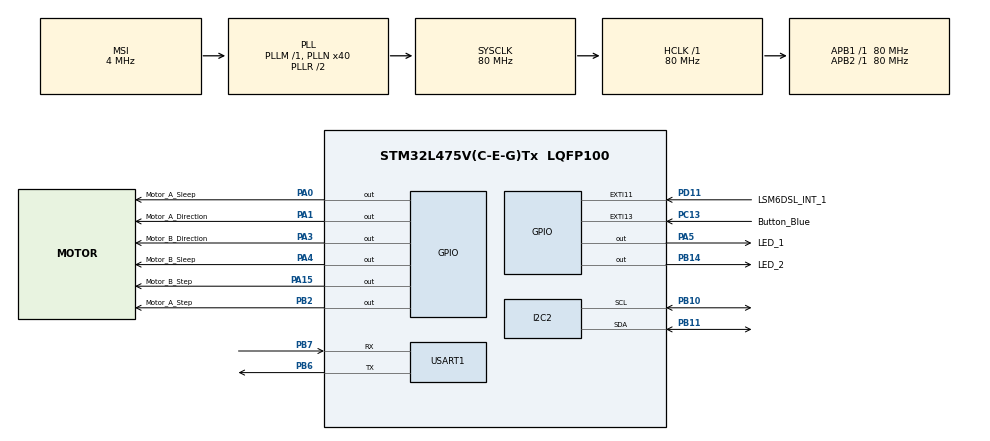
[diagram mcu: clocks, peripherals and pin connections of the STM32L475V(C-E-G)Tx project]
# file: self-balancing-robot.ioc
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Mcu.Family=STM32L4
VP_SYS_VS_tim6.Mode=TIM6
RCC.CortexFreq_Value=80000000
PB10.Mode=I2C
NVIC.TIM6_DAC_IRQn=true\:0\:0\:false\:false\:true\:false\:false\:true
PB14.GPIO_Label=LED_2
I2C2.Timing=0x10909CEC
PA0.GPIO_Label=Motor_A_Sleep
PA15\ (JTDI).Signal=GPIO_Output
PC13.GPIO_Label=Button_Blue
PB11.Signal=I2C2_SDA
RCC.SYSCLKSource=RCC_SYSCLKSOURCE_PLLCLK
ProjectManager.StackSize=0x400
Dma.USART1_TX.0.Priority=DMA_PRIORITY_LOW
Dma.USART1_TX.0.Direction=DMA_MEMORY_TO_PERIPH
PD11.GPIO_Label=LSM6DSL_INT_1
RCC.HCLKFreq_Value=80000000
RCC.APB2TimFreq_Value=80000000
PB6.Signal=USART1_TX
PB6.Mode=Asynchronous
FREERTOS.configMINIMAL_STACK_SIZE=256
RCC.AHBFreq_Value=80000000
NVIC.EXTI15_10_IRQn=true\:10\:0\:true\:false\:true\:true\:true\:true
RCC.HSE_VALUE=8000000
PB2.Signal=GPIO_Output
PB7.Signal=USART1_RX
VP_FREERTOS_VS_CMSIS_V1.Mode=CMSIS_V1
Dma.USART1_TX.0.PeriphDataAlignment=DMA_PDATAALIGN_BYTE
PD11.GPIO_ModeDefaultEXTI=GPIO_MODE_IT_RISING
PA0.Signal=GPIO_Output
Mcu.Package=LQFP100
TIM2.Prescaler=0
NVIC.TimeBase=TIM6_DAC_IRQn
NVIC.TimeBaseIP=TIM6
Dma.USART1_TX.0.Instance=DMA1_Channel4
RCC.APB1TimFreq_Value=80000000
NVIC.DMA1_Channel4_IRQn=true\:5\:0\:false\:false\:true\:true\:false\:true
FREERTOS.configMAX_TASK_NAME_LEN=32
NVIC.USART1_IRQn=true\:5\:0\:false\:false\:true\:true\:true\:true
Dma.Request0=USART1_TX
PA4.GPIO_Label=Motor_B_Sleep
RCC.PLLSAI1N=24
PA3.Signal=GPIO_Output
RCC.MSI_VALUE=4000000
FREERTOS.Tasks01=inputProcessorTask,2,256,InputProcessorTask,Default,NULL,Static,inputProcessorTaskBuffer,inputProcessorTaskControlBlock;motorControllerTask,2,256,MotorControllerTask,Default,NULL,Static,motorControllerTaskBuffer,motorControllerTaskControlBlock;uiTask,-2,256,UITask,Default,NULL,Static,uiTaskBuffer,uiTaskControlBlock;serialTxFlushTask,-1,256,SerialTxFlushTask,Default,NULL,Static,serialTxFlushTaskBuffer,serialTxFlushTaskControlBlock;serialRxTask,-1,256,SerialRxTask,Default,NULL,Static,serialRxTaskBuffer,serialRxTaskControlBlock;startStopTask,3,256,StartStopTask,Default,NULL,Static,startStopTaskBuffer,startStopTaskControlBlock;autotuningTask,0,256,AutotuningTask,Default,NULL,Static,autotuningTaskBuffer,autotuningTaskControlBlock
Dma.USART1_TX.0.MemInc=DMA_MINC_ENABLE
Dma.USART1_TX.0.PeriphInc=DMA_PINC_DISABLE
PC13.Signal=GPXTI13
USART1.VirtualMode-Asynchronous=VM_ASYNC
PB11.Mode=I2C
ProjectManager.TargetToolchain=STM32CubeIDE
RCC.USBFreq_Value=48000000
RCC.LSE_VALUE=32768
PA1.Signal=GPIO_Output
PB10.Signal=I2C2_SCL
PB14.Signal=GPIO_Output
PA5.Signal=GPIO_Output
Dma.USART1_TX.0.Mode=DMA_NORMAL
board=B-L475E-IOT01A1
RCC.VCOOutputFreq_Value=160000000
RCC.APB2Freq_Value=80000000
VP_TIM2_VS_ClockSourceINT.Mode=Internal
RCC.ADCFreq_Value=48000000
PA1.GPIO_Label=Motor_A_Direction
TIM2.Period=0
PA15\ (JTDI).GPIO_Label=Motor_B_Step
Mcu.Name=STM32L475V(C-E-G)Tx
PA4.Signal=GPIO_Output
RCC.SYSCLKFreq_VALUE=80000000
FREERTOS.configUSE_COUNTING_SEMAPHORES=1
PA5.GPIO_Label=LED_1
PC13.GPIO_ModeDefaultEXTI=GPIO_MODE_IT_RISING_FALLING
PD11.Signal=GPXTI11
PB7.Mode=Asynchronous
Dma.USART1_TX.0.MemDataAlignment=DMA_MDATAALIGN_BYTE
PB2.GPIO_Label=Motor_A_Step
ProjectManager.HeapSize=0x200
RCC.HSI_VALUE=16000000
FREERTOS.Mutexes01=sensorsMutex,Static,sensorsMutexControlBlock
NVIC.PriorityGroup=NVIC_PRIORITYGROUP_4
RCC.PLLN=40
TIM2.AutoReloadPreload=TIM_AUTORELOAD_PRELOAD_DISABLE
RCC.APB1Freq_Value=80000000
PA3.GPIO_Label=Motor_B_Direction

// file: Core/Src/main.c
/* USER CODE BEGIN Header */
/**
  ******************************************************************************
  * @file           : main.c
  * @brief          : Main program body
  ******************************************************************************
  * @attention
  *
  * <h2><center>&copy; Copyright (c) 2021 STMicroelectronics.
  * All rights reserved.</center></h2>
  *
  * This software component is licensed by ST under BSD 3-Clause license,
  * the "License"; You may not use this file except in compliance with the
  * License. You may obtain a copy of the License at:
  *                        opensource.org/licenses/BSD-3-Clause
  *
  ******************************************************************************
  */
/* USER CODE END Header */
#include "main.h"
#include "cmsis_os.h"

/* USER CODE BEGIN Includes */
#include <string.h>
#include <stdlib.h>

#include "math.h"
#include "verbose.h"
#include "serial.h"
#include "std.h"
#include "lsm6dsl.h"
#include "pid.h"
#include "complementary_filter.h"
#include "gpio_pin.h"
#include "a4988.h"
#include "utime.h"
#include "taskutils.h"
/* USER CODE END Includes */

/* USER CODE BEGIN PTD */
typedef struct SerialCommand {
	char prefix;
	const char *arg_help;
	const char *help;
	void (*fn)(const char *);
} SerialCommand;
/* USER CODE END PTD */

/* USER CODE BEGIN PD */

#define VERBOSE_FMT(fmt) fmt

/* ----- serial commands ----- */

#define CMD_PRINT_CONFIG_PREFIX '\0'
#define CMD_HELP_PREFIX 'h'
#define CMD_DEFAULT_SAMPLE_RATE_PREFIX 'r'
#define CMD_TAU_PREFIX 't'
#define CMD_KP_PREFIX 'p'
#define CMD_KI_PREFIX 'i'
#define CMD_KD_PREFIX 'd'
#define CMD_DEFAULT_SETPOINT_DEG_PREFIX 'c'
#define CMD_GYRO_X_OFFSET_PREFIX 'o'
#define CMD_DEFAULT_SIMULATION_MODE_PREFIX 'x'
#define CMD_DEFAULT_DISPLAY_STEP_RESPONSE_PREFIX 's'
#define CMD_DEFAULT_DISPLAY_MOTOR_RESPONSIVENESS_PREFIX 'm'
#define CMD_DEFAULT_ECHO_COMMANDS_PREFIX 'e'
#define CMD_STEP_MOTOR_A_PREFIX 'a'
#define CMD_STEP_MOTOR_B_PREFIX 'b'
#define CMD_SPIN_MOTORS_PREFIX 'g'
#define CMD_GYRO_AUTOTUNING_PREFIX 'u'
#define CMD_START_PREFIX '1'
#define CMD_STOP_PREFIX '0'

#if VERBOSE
#define CMD_VERBOSE_PREFIX 'v'
#endif

/* ----- fixed parameters ----- */

/*
 * Gyroscope adjustments.
 * The gyro offsets are computed as the mean
 * of the value read from the gyro while steady
 * (which ideally should be 0).
 * Actually only the X one is computed since the other are not used.
 */
#define GYRO_OFFSET_X  0.30f

/*
 * Accelerometer adjustments.
 * The acceleration offsets are 0 because we haven't
 * a more accurate accelerometer to compare
 * the obtained value; so we trust in what we read.
 */
#define ACCEL_OFFSET_X 0.0f
#define ACCEL_OFFSET_Y 0.0f
#define ACCEL_OFFSET_Z 0.0f

/*
 * Granularity of the A4988s drivers.
 * (depends on the MSI configuration, which is fixed in hardware).
 */
#define MOTOR_MICROSTEPS_PER_STEP 2

/*
 * How many steps a revolution of the motor (NEMA17) contains.
 */
#define MOTOR_STEPS_PER_REV 200

/*
 * Degrees after which the robot is considered dead
 * (therefore won't be any output).
 */
#define GIVEUP_DEG 40.0f

/*
 * First sensors samples usually have some noise, discard some of them.
 */
#define LSM6DSL_INITIAL_SAMPLES_TO_DISCARD 30

/*
 * Software debounce to prevents too near consecutive presses.
 */
#define BUTTON_DEBOUNCE_MS 150

/*
 * Software debounce to prevents too near consecutive presses.
 */
#define BUTTON_LONG_PRESS_MS 2000

/*
 * After how many steps blink the LEDs.
 */
#define UI_BLINK_AFTER_MOTOR_STEPS 4

/*
 * After how many steps blink the LEDs.
 */
#define UI_BLINK_AFTER_AUTOTUNING_SENSOR_READ 4

/*
 * Command over serial max length.
 */
#define COMMAND_MAX_LEN 16

/* ----- runtime-configurable parameters ----- */

/*
 * Sampling sensor frequency.
 */
#define DEFAULT_SAMPLE_RATE 52
#define DEFAULT_LSM6DSL_FREQ LSM6DSL_52_HZ

/*
 * Complementary filter parameter.
 * Changing this value changes the threshold of when
 * we trust the gyroscope or we trust the accelerometer.
 */
#define DEFAULT_COMPLEMENTARY_FILTER_TAU 5.00f

/*
 * PID parameters.
 * P: proportional
 * I: integral
 * D: derivative
 */
#define DEFAULT_PID_KP  6.0f
#define DEFAULT_PID_KI  60.0f
#define DEFAULT_PID_KD  0.12f

/*
 * The desired angle;
 * can be adjusted if the hardware is not exactly balanced.
 */
#define DEFAULT_SETPOINT_DEG  0.0f

#define DEFAULT_SIMULATION_MODE false
#define DEFAULT_DISPLAY_STEP_RESPONSE false
#define DEFAULT_DISPLAY_MOTOR_RESPONSIVENESS false
#define DEFAULT_ECHO_COMMANDS true
#define DEFAULT_VERBOSE false

/* USER CODE END PD */

/* USER CODE BEGIN PM */
#define COMPLEMENTARY_FILTER_ALPHA(tau, rate) \
	((float) tau / (tau + ((float) 1 / rate)))
/* USER CODE END PM */

I2C_HandleTypeDef hi2c2;

TIM_HandleTypeDef htim2;

UART_HandleTypeDef huart1;
DMA_HandleTypeDef hdma_usart1_tx;

osThreadId inputProcessorTaskHandle;
uint32_t inputProcessorTaskBuffer[ 256 ];
osStaticThreadDef_t inputProcessorTaskControlBlock;
osThreadId motorControllerTaskHandle;
uint32_t motorControllerTaskBuffer[ 256 ];
osStaticThreadDef_t motorControllerTaskControlBlock;
osThreadId uiTaskHandle;
uint32_t uiTaskBuffer[ 256 ];
osStaticThreadDef_t uiTaskControlBlock;
osThreadId serialTxFlushTaskHandle;
uint32_t serialTxFlushTaskBuffer[ 256 ];
osStaticThreadDef_t serialTxFlushTaskControlBlock;
osThreadId serialRxTaskHandle;
uint32_t serialRxTaskBuffer[ 256 ];
osStaticThreadDef_t serialRxTaskControlBlock;
osThreadId startStopTaskHandle;
uint32_t startStopTaskBuffer[ 256 ];
osStaticThreadDef_t startStopTaskControlBlock;
osThreadId autotuningTaskHandle;
uint32_t autotuningTaskBuffer[ 256 ];
osStaticThreadDef_t autotuningTaskControlBlock;
osMutexId sensorsMutexHandle;
osStaticMutexDef_t sensorsMutexControlBlock;
/* USER CODE BEGIN PV */

/* ----- conversion constants ----- */

static const float RPM_TO_FREQ = ((float) MOTOR_STEPS_PER_REV  * MOTOR_MICROSTEPS_PER_STEP) / 60.0f;
static const float FREQ_TO_RPM = 1 / RPM_TO_FREQ;

/* ----- signals ----- */

static const int START_STOP_TASK_SIGNAL_START = 					BIT(0);
static const int START_STOP_TASK_SIGNAL_STOP = 					BIT(1);
static const int START_STOP_TASK_SIGNAL_TOGGLE = 					BIT(2);

static const int INPUT_PROCESSOR_TASK_SIGNAL_INPUT_READY = 		BIT(0);
static const int INPUT_PROCESSOR_TASK_SIGNAL_RESET = 				BIT(1);

static const int UI_TASK_SIGNAL_STEP_FORWARD_MOTOR_A =				BIT(0);
static const int UI_TASK_SIGNAL_STEP_BACKWARD_MOTOR_A =			BIT(1);
static const int UI_TASK_SIGNAL_STEP_FORWARD_MOTOR_B =				BIT(2);
static const int UI_TASK_SIGNAL_STEP_BACKWARD_MOTOR_B =			BIT(3);
static const int UI_TASK_SIGNAL_AUTOTUNING =						BIT(4);

static const int MOTOR_CONTROLLER_TASK_SIGNAL_OUTPUT_READY = 		BIT(0);
static const int MOTOR_CONTROLLER_TASK_SIGNAL_RESET = 				BIT(1);

static const int AUTOTUNING_TASK_SIGNAL = 							BIT(0);

/* ----- peripherals ----- */

static GPIO_Pin led1 = { .port = LED_1_GPIO_Port, .pin = LED_1_Pin };
static GPIO_Pin led2 = { .port = LED_2_GPIO_Port, .pin = LED_2_Pin };
static GPIO_Pin button = { .port = Button_Blue_GPIO_Port, .pin = Button_Blue_Pin };

static A4988 a4988_a;
static A4988 a4988_b;
static PID pid;
static ComplementaryFilter filter;

/* ----- configurable parameters ----- */

// Some of these must be declared as volatile in order to be able to see the
// runtime updates that could eventually be done from the serial

bool verbose = DEFAULT_VERBOSE; // extern of verbose.h
static LSM6DSL_Frequency lsm6dsl_freq = DEFAULT_LSM6DSL_FREQ;
static int sample_rate = DEFAULT_SAMPLE_RATE;
static float tau = DEFAULT_COMPLEMENTARY_FILTER_TAU;
static float kp = DEFAULT_PID_KP;
static float ki = DEFAULT_PID_KI;
static float kd = DEFAULT_PID_KD;
static float setpoint_deg = DEFAULT_SETPOINT_DEG;
static bool simulation_mode = DEFAULT_SIMULATION_MODE;
static volatile bool display_step_response = DEFAULT_DISPLAY_STEP_RESPONSE;
static volatile bool display_motor_responsiveness = DEFAULT_DISPLAY_MOTOR_RESPONSIVENESS;
static volatile bool echo_commands = DEFAULT_ECHO_COMMANDS;
static volatile bool gyro_autotuning = false;
static volatile float gyro_offset_x = GYRO_OFFSET_X;
static volatile struct {
	float sum;
	int count;
} gyro_autotuning_mean;

/* ----- robot state  ----- */

static volatile bool running = false;
static volatile float target_rpm = 0;

/* USER CODE END PV */

void SystemClock_Config(void);
static void MX_GPIO_Init(void);
static void MX_DMA_Init(void);
static void MX_USART1_UART_Init(void);
static void MX_I2C2_Init(void);
static void MX_TIM2_Init(void);
void InputProcessorTask(void const * argument);
void MotorControllerTask(void const * argument);
void UITask(void const * argument);
void SerialTxFlushTask(void const * argument);
void SerialRxTask(void const * argument);
void StartStopTask(void const * argument);
void AutotuningTask(void const * argument);

/* USER CODE BEGIN PFP */
static void initializeFilter();
static void initializePID();

static void initializeMotorA();
static void startMotorA();
static void stopMotorB();
static void stepForwardMotorA(bool wait_falling_edge);
static void stepBackwardMotorA(bool wait_falling_edge);
static void stepFallingEdgeMotorA();

static void initializeMotorB();
static void startMotorB();
static void stopMotorB();
static void stepForwardMotorB(bool wait_falling_edge);
static void stepBackwardMotorB(bool wait_falling_edge);
static void stepFallingEdgeMotorB();

static void initializeMotors();
static void startMotors();
static void stopMotors();

static void initializeSensors();
static void startSensors();
static void stopSensors();

static void initializeRobot();
static void startRobot();
static void stopRobot();

static void cmdPrintConfig(const char *arg);
static void cmdHelp(const char *arg);
static void cmdSetSampleRate(const char *arg);
static void cmdSetTau(const char *arg);
static void cmdSetKp(const char *arg);
static void cmdSetKd(const char *arg);
static void cmdSetKi(const char *arg);
static void cmdSetSetpoint(const char *arg);
static void cmdSetGyroXOffset(const char *arg);
static void cmdSetOrToggleSimulationMode(const char *arg);
static void cmdSetOrToggleDisplayStepResponse(const char *arg);
static void cmdSetOrToggleDisplayMotorResponsiveness(const char *arg);
static void cmdSetOrToggleEchoCommands(const char *arg);
static void cmdStepMotorA(const char *arg);
static void cmdStepMotorB(const char *arg);
static void cmdSpinMotors(const char *arg);
static void cmdGyroAutotuning(const char *arg);
static void cmdStart(const char *arg);
static void cmdStop(const char *arg);

#if VERBOSE
static void cmdSetOrToggleVerbose(const char *arg);
#endif
/* USER CODE END PFP */

/* USER CODE BEGIN 0 */

const SerialCommand COMMANDS[] = {
	{.prefix = CMD_PRINT_CONFIG_PREFIX,
			.arg_help = "",
			.help = "print configuration",
			.fn = cmdPrintConfig},
	{.prefix = CMD_HELP_PREFIX,
			.arg_help = "",
			.help = "show help",
			.fn = cmdHelp},
	{.prefix = CMD_DEFAULT_SAMPLE_RATE_PREFIX,
			.arg_help = "<INT>",
			.help = "set 'sample_rate'",
			.fn = cmdSetSampleRate},
	{.prefix = CMD_TAU_PREFIX,
			.arg_help = "<FLOAT>",
			.help = "set 'tau'",
			.fn = cmdSetTau},
	{.prefix = CMD_KP_PREFIX,
			.arg_help = "<FLOAT>",
			.help = "set 'kp'",
			.fn = cmdSetKp},
	{.prefix = CMD_KI_PREFIX,
			.arg_help = "<FLOAT>",
			.help = "set 'ki'",
			.fn = cmdSetKi},
	{.prefix = CMD_KD_PREFIX,
			.arg_help = "<FLOAT>",
			.help = "set 'kd'",
			.fn = cmdSetKd},
	{.prefix = CMD_DEFAULT_SETPOINT_DEG_PREFIX,
			.arg_help = "<FLOAT",
			.help = "set 'setpoint_deg'",
			.fn = cmdSetSetpoint},
	{.prefix = CMD_GYRO_X_OFFSET_PREFIX,
			.arg_help = "<FLOAT>",
			.help = "set the gyroscope x offset",
			.fn = cmdSetGyroXOffset},
	{.prefix = CMD_DEFAULT_SIMULATION_MODE_PREFIX,
			.arg_help = "[0|1]",
			.help = "set or toggle 'simulation_mode'",
			.fn = cmdSetOrToggleSimulationMode},
	{.prefix = CMD_DEFAULT_DISPLAY_STEP_RESPONSE_PREFIX,
			.arg_help = "[0|1]",
			.help = "set or toggle 'display_step_response'",
			.fn = cmdSetOrToggleDisplayStepResponse},
	{.prefix = CMD_DEFAULT_DISPLAY_MOTOR_RESPONSIVENESS_PREFIX,
			.arg_help = "[0|1]",
			.help = "set or toggle 'display_motor_responsiveness'",
			.fn = cmdSetOrToggleDisplayMotorResponsiveness},
	{.prefix = CMD_DEFAULT_ECHO_COMMANDS_PREFIX,
			.arg_help = "[0|1]",
			.help = "set or toggle 'echo_commands'",
			.fn = cmdSetOrToggleEchoCommands},
#if VERBOSE
	{.prefix = CMD_VERBOSE_PREFIX,
			.arg_help = "[0|1]",
			.help = "set or toggle 'verbose'",
			.fn = cmdSetOrToggleVerbose},
#endif
	{.prefix = CMD_STEP_MOTOR_A_PREFIX,
			.arg_help = "[f|b]",
			.help = "step forward motor A",
			.fn = cmdStepMotorA},
	{.prefix = CMD_STEP_MOTOR_B_PREFIX,
			.arg_help = "[f|b]",
			.help = "step forward motor A",
			.fn = cmdStepMotorB},
	{.prefix = CMD_SPIN_MOTORS_PREFIX,
			.arg_help = "<FLOAT>",
			.help = "start the motors with the given RPM",
			.fn = cmdSpinMotors},
	{.prefix = CMD_GYRO_AUTOTUNING_PREFIX,
			.arg_help = "<INT>",
			.help = "start the gyroscope tuning for the given seconds",
			.fn = cmdGyroAutotuning},
	{.prefix = CMD_START_PREFIX,
			.arg_help = "",
			.help = "start the self-balancing robot",
			.fn = cmdStart},
	{.prefix = CMD_STOP_PREFIX,
			.arg_help = "",
			.help = "stop the self-balancing robot",
			.fn = cmdStop}
};

/* USER CODE END 0 */

int main(void)
{

  /* MCU Configuration--------------------------------------------------------*/

  /* Reset of all peripherals, Initializes the Flash interface and the Systick. */
  HAL_Init();

  /* Configure the system clock */
  SystemClock_Config();

  /* Initialize all configured peripherals */
  MX_GPIO_Init();
  MX_DMA_Init();
  MX_USART1_UART_Init();
  MX_I2C2_Init();
  MX_TIM2_Init();
  /* USER CODE BEGIN 2 */

  UTime_Init(&htim2);
  UTime_Start();

  Serial_Config serial_cfg = { .huart = &huart1 };
  Serial_Init(serial_cfg);

  println(
	  "======= SELF BALANCING ROBOT =======" SERIAL_ENDL
	  "Build date: " __DATE__ " " __TIME__ SERIAL_ENDL
	  "===================================="
  );
  println("Type h for help...");

  averboseln("Starting FreeRTOS kernel...");

  /* USER CODE END 2 */

  /* Create the mutex(es) */
  /* definition and creation of sensorsMutex */
  osMutexStaticDef(sensorsMutex, &sensorsMutexControlBlock);
  sensorsMutexHandle = osMutexCreate(osMutex(sensorsMutex));

  /* Create the thread(s) */
  /* definition and creation of inputProcessorTask */
  osThreadStaticDef(inputProcessorTask, InputProcessorTask, osPriorityHigh, 0, 256, inputProcessorTaskBuffer, &inputProcessorTaskControlBlock);
  inputProcessorTaskHandle = osThreadCreate(osThread(inputProcessorTask), NULL);

  /* definition and creation of motorControllerTask */
  osThreadStaticDef(motorControllerTask, MotorControllerTask, osPriorityHigh, 0, 256, motorControllerTaskBuffer, &motorControllerTaskControlBlock);
  motorControllerTaskHandle = osThreadCreate(osThread(motorControllerTask), NULL);

  /* definition and creation of uiTask */
  osThreadStaticDef(uiTask, UITask, osPriorityLow, 0, 256, uiTaskBuffer, &uiTaskControlBlock);
  uiTaskHandle = osThreadCreate(osThread(uiTask), NULL);

  /* definition and creation of serialTxFlushTask */
  osThreadStaticDef(serialTxFlushTask, SerialTxFlushTask, osPriorityBelowNormal, 0, 256, serialTxFlushTaskBuffer, &serialTxFlushTaskControlBlock);
  serialTxFlushTaskHandle = osThreadCreate(osThread(serialTxFlushTask), NULL);

  /* definition and creation of serialRxTask */
  osThreadStaticDef(serialRxTask, SerialRxTask, osPriorityBelowNormal, 0, 256, serialRxTaskBuffer, &serialRxTaskControlBlock);
  serialRxTaskHandle = osThreadCreate(osThread(serialRxTask), NULL);

  /* definition and creation of startStopTask */
  osThreadStaticDef(startStopTask, StartStopTask, osPriorityRealtime, 0, 256, startStopTaskBuffer, &startStopTaskControlBlock);
  startStopTaskHandle = osThreadCreate(osThread(startStopTask), NULL);

  /* definition and creation of autotuningTask */
  osThreadStaticDef(autotuningTask, AutotuningTask, osPriorityNormal, 0, 256, autotuningTaskBuffer, &autotuningTaskControlBlock);
  autotuningTaskHandle = osThreadCreate(osThread(autotuningTask), NULL);

  /* Start scheduler */
  osKernelStart();

  /* We should never get here as control is now taken by the scheduler */
  /* Infinite loop */
  while (1)
  {

  }
}

void SystemClock_Config(void)
{
  RCC_OscInitTypeDef RCC_OscInitStruct = {0};
  RCC_ClkInitTypeDef RCC_ClkInitStruct = {0};
  RCC_PeriphCLKInitTypeDef PeriphClkInit = {0};

  /** Initializes the RCC Oscillators according to the specified parameters
  * in the RCC_OscInitTypeDef structure.
  */
  RCC_OscInitStruct.OscillatorType = RCC_OSCILLATORTYPE_MSI;
  RCC_OscInitStruct.MSIState = RCC_MSI_ON;
  RCC_OscInitStruct.MSICalibrationValue = 0;
  RCC_OscInitStruct.MSIClockRange = RCC_MSIRANGE_6;
  RCC_OscInitStruct.PLL.PLLState = RCC_PLL_ON;
  RCC_OscInitStruct.PLL.PLLSource = RCC_PLLSOURCE_MSI;
  RCC_OscInitStruct.PLL.PLLM = 1;
  RCC_OscInitStruct.PLL.PLLN = 40;
  RCC_OscInitStruct.PLL.PLLP = RCC_PLLP_DIV7;
  RCC_OscInitStruct.PLL.PLLQ = RCC_PLLQ_DIV2;
  RCC_OscInitStruct.PLL.PLLR = RCC_PLLR_DIV2;
  if (HAL_RCC_OscConfig(&RCC_OscInitStruct) != HAL_OK)
  {
    Error_Handler();
  }
  /** Initializes the CPU, AHB and APB buses clocks
  */
  RCC_ClkInitStruct.ClockType = RCC_CLOCKTYPE_HCLK|RCC_CLOCKTYPE_SYSCLK
                              |RCC_CLOCKTYPE_PCLK1|RCC_CLOCKTYPE_PCLK2;
  RCC_ClkInitStruct.SYSCLKSource = RCC_SYSCLKSOURCE_PLLCLK;
  RCC_ClkInitStruct.AHBCLKDivider = RCC_SYSCLK_DIV1;
  RCC_ClkInitStruct.APB1CLKDivider = RCC_HCLK_DIV1;
  RCC_ClkInitStruct.APB2CLKDivider = RCC_HCLK_DIV1;

  if (HAL_RCC_ClockConfig(&RCC_ClkInitStruct, FLASH_LATENCY_4) != HAL_OK)
  {
    Error_Handler();
  }
  PeriphClkInit.PeriphClockSelection = RCC_PERIPHCLK_USART1|RCC_PERIPHCLK_I2C2;
  PeriphClkInit.Usart1ClockSelection = RCC_USART1CLKSOURCE_PCLK2;
  PeriphClkInit.I2c2ClockSelection = RCC_I2C2CLKSOURCE_PCLK1;
  if (HAL_RCCEx_PeriphCLKConfig(&PeriphClkInit) != HAL_OK)
  {
    Error_Handler();
  }
  /** Configure the main internal regulator output voltage
  */
  if (HAL_PWREx_ControlVoltageScaling(PWR_REGULATOR_VOLTAGE_SCALE1) != HAL_OK)
  {
    Error_Handler();
  }
}

static void MX_I2C2_Init(void)
{

  hi2c2.Instance = I2C2;
  hi2c2.Init.Timing = 0x10909CEC;
  hi2c2.Init.OwnAddress1 = 0;
  hi2c2.Init.AddressingMode = I2C_ADDRESSINGMODE_7BIT;
  hi2c2.Init.DualAddressMode = I2C_DUALADDRESS_DISABLE;
  hi2c2.Init.OwnAddress2 = 0;
  hi2c2.Init.OwnAddress2Masks = I2C_OA2_NOMASK;
  hi2c2.Init.GeneralCallMode = I2C_GENERALCALL_DISABLE;
  hi2c2.Init.NoStretchMode = I2C_NOSTRETCH_DISABLE;
  if (HAL_I2C_Init(&hi2c2) != HAL_OK)
  {
    Error_Handler();
  }
  /** Configure Analogue filter
  */
  if (HAL_I2CEx_ConfigAnalogFilter(&hi2c2, I2C_ANALOGFILTER_ENABLE) != HAL_OK)
  {
    Error_Handler();
  }
  /** Configure Digital filter
  */
  if (HAL_I2CEx_ConfigDigitalFilter(&hi2c2, 0) != HAL_OK)
  {
    Error_Handler();
  }

}

static void MX_TIM2_Init(void)
{

  TIM_ClockConfigTypeDef sClockSourceConfig = {0};
  TIM_MasterConfigTypeDef sMasterConfig = {0};

  htim2.Instance = TIM2;
  htim2.Init.Prescaler = 0;
  htim2.Init.CounterMode = TIM_COUNTERMODE_UP;
  htim2.Init.Period = 0;
  htim2.Init.ClockDivision = TIM_CLOCKDIVISION_DIV1;
  htim2.Init.AutoReloadPreload = TIM_AUTORELOAD_PRELOAD_DISABLE;
  if (HAL_TIM_Base_Init(&htim2) != HAL_OK)
  {
    Error_Handler();
  }
  sClockSourceConfig.ClockSource = TIM_CLOCKSOURCE_INTERNAL;
  if (HAL_TIM_ConfigClockSource(&htim2, &sClockSourceConfig) != HAL_OK)
  {
    Error_Handler();
  }
  sMasterConfig.MasterOutputTrigger = TIM_TRGO_RESET;
  sMasterConfig.MasterSlaveMode = TIM_MASTERSLAVEMODE_DISABLE;
  if (HAL_TIMEx_MasterConfigSynchronization(&htim2, &sMasterConfig) != HAL_OK)
  {
    Error_Handler();
  }

}

static void MX_USART1_UART_Init(void)
{

  huart1.Instance = USART1;
  huart1.Init.BaudRate = 115200;
  huart1.Init.WordLength = UART_WORDLENGTH_8B;
  huart1.Init.StopBits = UART_STOPBITS_1;
  huart1.Init.Parity = UART_PARITY_NONE;
  huart1.Init.Mode = UART_MODE_TX_RX;
  huart1.Init.HwFlowCtl = UART_HWCONTROL_NONE;
  huart1.Init.OverSampling = UART_OVERSAMPLING_16;
  huart1.Init.OneBitSampling = UART_ONE_BIT_SAMPLE_DISABLE;
  huart1.AdvancedInit.AdvFeatureInit = UART_ADVFEATURE_NO_INIT;
  if (HAL_UART_Init(&huart1) != HAL_OK)
  {
    Error_Handler();
  }

}

static void MX_DMA_Init(void)
{

  /* DMA controller clock enable */
  __HAL_RCC_DMA1_CLK_ENABLE();

  /* DMA interrupt init */
  /* DMA1_Channel4_IRQn interrupt configuration */
  HAL_NVIC_SetPriority(DMA1_Channel4_IRQn, 5, 0);
  HAL_NVIC_EnableIRQ(DMA1_Channel4_IRQn);

}

static void MX_GPIO_Init(void)
{
  GPIO_InitTypeDef GPIO_InitStruct = {0};

  /* GPIO Ports Clock Enable */
  __HAL_RCC_GPIOC_CLK_ENABLE();
  __HAL_RCC_GPIOA_CLK_ENABLE();
  __HAL_RCC_GPIOB_CLK_ENABLE();
  __HAL_RCC_GPIOD_CLK_ENABLE();

  /*Configure GPIO pin Output Level */
  HAL_GPIO_WritePin(GPIOA, Motor_A_Sleep_Pin|Motor_A_Direction_Pin|Motor_B_Direction_Pin|Motor_B_Sleep_Pin
                          |LED_1_Pin|Motor_B_Step_Pin, GPIO_PIN_RESET);

  /*Configure GPIO pin Output Level */
  HAL_GPIO_WritePin(GPIOB, Motor_A_Step_Pin|LED_2_Pin, GPIO_PIN_RESET);

  /*Configure GPIO pin : Button_Blue_Pin */
  GPIO_InitStruct.Pin = Button_Blue_Pin;
  GPIO_InitStruct.Mode = GPIO_MODE_IT_RISING_FALLING;
  GPIO_InitStruct.Pull = GPIO_NOPULL;
  HAL_GPIO_Init(Button_Blue_GPIO_Port, &GPIO_InitStruct);

  /*Configure GPIO pins : Motor_A_Sleep_Pin Motor_A_Direction_Pin Motor_B_Direction_Pin Motor_B_Sleep_Pin
                           LED_1_Pin Motor_B_Step_Pin */
  GPIO_InitStruct.Pin = Motor_A_Sleep_Pin|Motor_A_Direction_Pin|Motor_B_Direction_Pin|Motor_B_Sleep_Pin
                          |LED_1_Pin|Motor_B_Step_Pin;
  GPIO_InitStruct.Mode = GPIO_MODE_OUTPUT_PP;
  GPIO_InitStruct.Pull = GPIO_NOPULL;
  GPIO_InitStruct.Speed = GPIO_SPEED_FREQ_LOW;
  HAL_GPIO_Init(GPIOA, &GPIO_InitStruct);

  /*Configure GPIO pins : Motor_A_Step_Pin LED_2_Pin */
  GPIO_InitStruct.Pin = Motor_A_Step_Pin|LED_2_Pin;
  GPIO_InitStruct.Mode = GPIO_MODE_OUTPUT_PP;
  GPIO_InitStruct.Pull = GPIO_NOPULL;
  GPIO_InitStruct.Speed = GPIO_SPEED_FREQ_LOW;
  HAL_GPIO_Init(GPIOB, &GPIO_InitStruct);

  /*Configure GPIO pin : LSM6DSL_INT_1_Pin */
  GPIO_InitStruct.Pin = LSM6DSL_INT_1_Pin;
  GPIO_InitStruct.Mode = GPIO_MODE_IT_RISING;
  GPIO_InitStruct.Pull = GPIO_NOPULL;
  HAL_GPIO_Init(LSM6DSL_INT_1_GPIO_Port, &GPIO_InitStruct);

  /* EXTI interrupt init*/
  HAL_NVIC_SetPriority(EXTI15_10_IRQn, 10, 0);
  HAL_NVIC_EnableIRQ(EXTI15_10_IRQn);

}

/* USER CODE BEGIN 4 */

void HAL_GPIO_EXTI_Callback(uint16_t pin)
{
	static uint32_t button_last_t = 0;
	uint32_t t = GetMilliseconds();

	if (pin == LSM6DSL_INT_1_Pin) {
		// SENSORS event (wake up InputProcessorTask)
		osSignalSet(inputProcessorTaskHandle, INPUT_PROCESSOR_TASK_SIGNAL_INPUT_READY);
	} else if (pin == Button_Blue_Pin) {
		// BUTTON event
		bool rising = GPIO_Pin_Read(button);
		if (rising) {
			if (t - button_last_t > BUTTON_LONG_PRESS_MS) {
				// Long press: auto tuning
				osSignalSet(autotuningTaskHandle, AUTOTUNING_TASK_SIGNAL);
			} else {
				// Short press: start/stop
				osSignalSet(startStopTaskHandle, START_STOP_TASK_SIGNAL_TOGGLE);
			}
		}

		button_last_t = t;
	}
}

static void initializeFilter()
{
	ComplementaryFilter_Config cfg = {
		.alpha = COMPLEMENTARY_FILTER_ALPHA(tau, sample_rate),
		.sample_rate = (float) sample_rate
	};

	ComplementaryFilter_Init(&filter, cfg);
}

static void initializePID()
{
	PID_Config cfg = {
		.Kp = kp,
		.Ki = ki,
		.Kd = kd,
		.setpoint = setpoint_deg,
		.sample_rate = (float) sample_rate,
		.limit_output = true,
		.output_limits = {
			/* Better not to exceed 1000Hz. */
			.min = -995 * FREQ_TO_RPM,
			.max = +995 * FREQ_TO_RPM
		},
		.direction = PID_DIRECTION_DIRECT
	};

	PID_Init(&pid, cfg);
}

static void initializeMotorA()
{
	A4988_Config cfg_a = {
		.step = {
			.port = Motor_A_Step_GPIO_Port,
			.pin = Motor_A_Step_Pin
		},
		.direction = {
			.port = Motor_A_Direction_GPIO_Port,
			.pin = Motor_A_Direction_Pin
		},
		.sleep = {
			.port = Motor_A_Sleep_GPIO_Port,
			.pin = Motor_A_Sleep_Pin
		},
		.inverted = true,
	};

	A4988_Init(&a4988_a, cfg_a);
}

static void startMotorA()
{
	if (!simulation_mode)
		A4988_Enable(&a4988_a);
	else
		a4988_a.enabled = true;
}

static void stopMotorA()
{
	if (!simulation_mode)
		A4988_Disable(&a4988_a);
	else
		a4988_a.enabled = false;
}

static void stepForwardMotorA(bool wait_falling_edge)
{
	if (a4988_a.enabled) {
		if (!simulation_mode) {
			A4988_StepForward(&a4988_a, wait_falling_edge);
		}
		osSignalSet(uiTaskHandle, UI_TASK_SIGNAL_STEP_FORWARD_MOTOR_A);
	}
}

static void stepBackwardMotorA(bool wait_falling_edge)
{
	if (a4988_a.enabled) {
		if (!simulation_mode)
			A4988_StepBackward(&a4988_a, wait_falling_edge);
		osSignalSet(uiTaskHandle, UI_TASK_SIGNAL_STEP_BACKWARD_MOTOR_A);
	}
}

static void stepFallingEdgeMotorA()
{
	if (a4988_a.enabled) {
		if (!simulation_mode)
			A4988_StepFallingEdge(&a4988_a);
	}
}

static void initializeMotorB()
{
	A4988_Config cfg_b = {
		.step = {
			.port = Motor_B_Step_GPIO_Port,
			.pin = Motor_B_Step_Pin
		},
		.direction = {
			.port = Motor_B_Direction_GPIO_Port,
			.pin = Motor_B_Direction_Pin
		},
		.sleep = {
			.port = Motor_B_Sleep_GPIO_Port,
			.pin = Motor_B_Sleep_Pin
		},
		.inverted = false,
	};

	A4988_Init(&a4988_b, cfg_b);
}

static void startMotorB()
{
	if (!simulation_mode)
		A4988_Enable(&a4988_b);
	else
		a4988_b.enabled = true;
}

static void stopMotorB()
{
	if (!simulation_mode)
		A4988_Disable(&a4988_b);
	else
		a4988_a.enabled = false;
}

static void stepForwardMotorB(bool wait_falling_edge)
{
	if (a4988_b.enabled) {
		if (!simulation_mode)
			A4988_StepForward(&a4988_b, wait_falling_edge);
		osSignalSet(uiTaskHandle, UI_TASK_SIGNAL_STEP_FORWARD_MOTOR_B);
	}
}

static void stepBackwardMotorB(bool wait_falling_edge)
{
	if (a4988_b.enabled) {
		if (!simulation_mode)
			A4988_StepBackward(&a4988_b, wait_falling_edge);
		osSignalSet(uiTaskHandle, UI_TASK_SIGNAL_STEP_BACKWARD_MOTOR_B);
	}
}

static void stepFallingEdgeMotorB()
{
	if (!simulation_mode)
		A4988_StepFallingEdge(&a4988_b);
}

static void initializeMotors()
{
	initializeMotorA();
	initializeMotorB();
}

static void startMotors()
{
	startMotorA();
	startMotorB();
	osDelay(A4988_MINIMUM_STEP_AFTER_WAKE_UP_MILLISECONDS);
}

static void stopMotors()
{
	stopMotorA();
	stopMotorB();
}

static void initializeSensors()
{
	osMutexWait(sensorsMutexHandle, osWaitForever);
	LSM6DSL_Init(&hi2c2);
	osMutexRelease(sensorsMutexHandle);
}

static void startSensors()
{
	osMutexWait(sensorsMutexHandle, osWaitForever);
	bool ok =
		LSM6DSL_EnableAccelerometer(lsm6dsl_freq, LSM6DSL_FS_XL_2_G) == HAL_OK &&
		LSM6DSL_EnableGyroscope(lsm6dsl_freq, LSM6DSL_FS_G_250_DPS) == HAL_OK &&
		LSM6DSL_SetGyroscopeInterrupt(LSM6DSL_INT_1) == HAL_OK;
	osMutexRelease(sensorsMutexHandle);

	if (!ok) {
		println("ERROR: sensors communication failed");
		Error_Handler();
	}
}

static void stopSensors()
{
	osMutexWait(sensorsMutexHandle, osWaitForever);
	bool ok =
		LSM6DSL_DisableAccelerometer() == HAL_OK &&
		LSM6DSL_DisableGyroscope() == HAL_OK &&
		LSM6DSL_UnsetGyroscopeInterrupt(LSM6DSL_INT_1) == HAL_OK;
	osMutexRelease(sensorsMutexHandle);

	if (!ok) {
		println("ERROR: sensors communication failed");
		Error_Handler();
	}
}

static void initializeRobot()
{
	averboseln("Initializing robot...");
	initializeSensors();
	initializeMotors();
	initializeFilter();
	initializePID();
}

static void startRobot()
{
	aprintln("=== START ===");
	startSensors();
	startMotors();
}

static void stopRobot()
{
	aprintln("=== STOP ===");
	stopSensors();
	stopMotors();
}

static void gyroAutotuning(int seconds) {
	int ms = seconds * 1000;
	gyro_autotuning = true;
	gyro_autotuning_mean.sum = 0;
	gyro_autotuning_mean.count = 0;
	aprintln("----------------------------");
	aprintln("--- GYROSCOPE AUTOTUNING ---");
	aprintln("----------------------------");
	initializeSensors();
	startSensors();

	uint32_t start = GetMilliseconds();
	uint32_t end = start + ms;
	while (true) {
		osDelay(2000);
		uint32_t now = GetMilliseconds();
		if (now > end)
			break;
		float progress = 100.0f * (now - start) / ms;
		aprintln("[%.1f%%] %f", progress, gyro_autotuning_mean.sum / gyro_autotuning_mean.count);
	}

	stopSensors();
	osSignalSet(inputProcessorTaskHandle, INPUT_PROCESSOR_TASK_SIGNAL_RESET);
	gyro_autotuning = false;
	gyro_offset_x = gyro_autotuning_mean.sum / gyro_autotuning_mean.count;
	aprintln("----------------------------");
	aprintln("New gyro_offset_x offset is: %f", gyro_offset_x);
}

static bool _setFloatFromArg(float *var, const char *arg)
{
	char *endptr;
	float result = strtof(arg, &endptr);
	if (result == 0 && *endptr != '\0') {
		aprintln("Conversion of '%s' to float failed", arg);
		return false;
	}

	*var = result;
	return true;
}

static bool _setIntFromArg(int *var, const char *arg)
{
	char *endptr;
	int result = strtol(arg, &endptr, 10);
	if (result == 0 && *endptr != '\0') {
		aprintln("Conversion of '%s' to int failed", arg);
		return false;
	}

	*var = result;
	return true;
}

static bool _setBoolFromArg(bool *var, const char *arg)
{
	char *endptr;
	int result = strtol(arg, &endptr, 10);

	if (result == 0 && *endptr != '\0') {
		aprintln("Conversion of '%s' to bool failed", arg);
		return false;
	}
	if (result != 0 && result != 1) {
		aprintln("Conversion of '%s' to bool failed (only 0 or 1 is allowed)", arg);
		return false;
	}

	*var = result;
	return true;
}

static bool _setOrToggleBoolFromArg(bool *var, const char *arg)
{
	if (*arg == '\0') {
		*var = !(*var);
		return true;
	}

	return _setBoolFromArg(var, arg);
}

static void cmdPrintConfig(const char *arg)
{
	static const int PARAMETER_COLUMN_SIZE = 40;
	static const int VALUE_COLUMN_SIZE = 16;
	static const int DEFAULT_VALUE_COLUMN_SIZE = 16;

#define HR "|-----------------------------------------------------------------------------------|"
#define INT_PARAM_FMT 	"| %c%*s | %c%*d | %*d |"
#define FLOAT_PARAM_FMT "| %c%*s | %c%*f | %*f |"
#define BOOL_PARAM 		"| %c%*s | %c%*s | %*s |"
#define EXPAND_PARAM(cmd_prefix, name, value, def_value) \
	cmd_prefix, PARAMETER_COLUMN_SIZE, name, \
	((value) == (def_value)) ? ' ' : '*', VALUE_COLUMN_SIZE, value, \
	DEFAULT_VALUE_COLUMN_SIZE, def_value

	aprintln(
			HR SERIAL_ENDL
			"| %*s |  %*s | %*s |" SERIAL_ENDL
			HR,
			PARAMETER_COLUMN_SIZE, "PARAMETER",
			VALUE_COLUMN_SIZE, "VALUE",
			DEFAULT_VALUE_COLUMN_SIZE, "DEFAULT_VALUE"
	);

	aprintln(INT_PARAM_FMT,
			EXPAND_PARAM(CMD_DEFAULT_SAMPLE_RATE_PREFIX, "sample_rate",
					sample_rate, DEFAULT_SAMPLE_RATE));
	aprintln(FLOAT_PARAM_FMT,
			EXPAND_PARAM(CMD_TAU_PREFIX, "tau",
					tau, DEFAULT_COMPLEMENTARY_FILTER_TAU));
	aprintln(FLOAT_PARAM_FMT,
			EXPAND_PARAM(CMD_KP_PREFIX, "kp",
					kp, DEFAULT_PID_KP));
	aprintln(FLOAT_PARAM_FMT,
			EXPAND_PARAM(CMD_KI_PREFIX, "ki",
					ki, DEFAULT_PID_KI));
	aprintln(FLOAT_PARAM_FMT,
			EXPAND_PARAM(CMD_KD_PREFIX, "kd",
					kd, DEFAULT_PID_KD));
	aprintln(FLOAT_PARAM_FMT,
			EXPAND_PARAM(CMD_DEFAULT_SETPOINT_DEG_PREFIX, "setpoint_deg",
					setpoint_deg, DEFAULT_SETPOINT_DEG));
	aprintln(FLOAT_PARAM_FMT,
			EXPAND_PARAM(CMD_GYRO_X_OFFSET_PREFIX, "gyro_offset_x",
					gyro_offset_x, GYRO_OFFSET_X));
	aprintln(FLOAT_PARAM_FMT,
			EXPAND_PARAM(' ', "giveup_deg",
					GIVEUP_DEG, GIVEUP_DEG));
	aprintln(INT_PARAM_FMT,
			EXPAND_PARAM(' ', "microsteps_per_step",
					MOTOR_MICROSTEPS_PER_STEP, MOTOR_MICROSTEPS_PER_STEP));
	aprintln(BOOL_PARAM,
			EXPAND_PARAM(CMD_DEFAULT_SIMULATION_MODE_PREFIX, "simulation_mode",
					BOOL_TO_STR(simulation_mode), BOOL_TO_STR(DEFAULT_SIMULATION_MODE)));
	aprintln(BOOL_PARAM,
			EXPAND_PARAM(CMD_DEFAULT_DISPLAY_STEP_RESPONSE_PREFIX, "display_step_response",
					BOOL_TO_STR(display_step_response), BOOL_TO_STR(DEFAULT_DISPLAY_STEP_RESPONSE)));
	aprintln(BOOL_PARAM,
			EXPAND_PARAM(CMD_DEFAULT_DISPLAY_MOTOR_RESPONSIVENESS_PREFIX, "display_motor_responsiveness",
					BOOL_TO_STR(display_motor_responsiveness), BOOL_TO_STR(DEFAULT_DISPLAY_MOTOR_RESPONSIVENESS)));
	aprintln(BOOL_PARAM,
			EXPAND_PARAM(CMD_DEFAULT_ECHO_COMMANDS_PREFIX, "echo_commands",
					BOOL_TO_STR(echo_commands), BOOL_TO_STR(DEFAULT_ECHO_COMMANDS)));
#if VERBOSE
	aprintln(BOOL_PARAM,
			EXPAND_PARAM(CMD_VERBOSE_PREFIX, "verbose",
					BOOL_TO_STR(verbose), BOOL_TO_STR(DEFAULT_VERBOSE)));
#endif
	aprintln(HR);

#undef HR
#undef INT_PARAM_FMT
#undef FLOAT_PARAM_FMT
#undef BOOL_PARAM
#undef EXPAND_PARAM
}

static void cmdHelp(const char *arg)
{
	static int longest_arg_help = -1;
	if (longest_arg_help < 0) {
		// Compute the longest help length, just the first time
		for (int i = 0; i < ARRAY_SIZE(COMMANDS); i++)
			longest_arg_help = MAX(longest_arg_help, (int) strlen(COMMANDS[i].arg_help));
	}

	for (int i = 0; i < ARRAY_SIZE(COMMANDS); i++) {
		const SerialCommand *cmd = &COMMANDS[i];
		aprintln("%c%s%*s : %s",
				cmd->prefix != '\0' ? cmd->prefix : ' ',
				cmd->arg_help,
				longest_arg_help - strlen(cmd->arg_help), "",
				cmd->help);
	}
}

static void cmdSetSampleRate(const char *arg) {
	int val;
	if (!_setIntFromArg(&val, arg))
		return;
	LSM6DSL_Frequency freq = LSM6DSL_Frequency_FromInt(val);
	if (freq == LSM6DSL_POWER_DOWN) {
		aprintln("Unexpected argument '%d'" SERIAL_ENDL
				"(only 12, 26, 52, 104, 208, 416, 833, 1666, 3333, 6666 are allowed) ", val);
		return;
	}
	lsm6dsl_freq = freq;
	sample_rate = LSM6DSL_Frequency_ToInt(lsm6dsl_freq);
}

static void cmdSetTau(const char *arg)
{
	_setFloatFromArg(&tau, arg);
}

static void cmdSetKp(const char *arg)
{
	_setFloatFromArg(&kp, arg);
}

static void cmdSetKd(const char *arg)
{
	_setFloatFromArg(&kd, arg);
}

static void cmdSetKi(const char *arg)
{
	_setFloatFromArg(&ki, arg);
}

static void cmdSetSetpoint(const char *arg)
{
	_setFloatFromArg(&setpoint_deg, arg);
}

static void cmdSetOrToggleSimulationMode(const char *arg)
{
	_setOrToggleBoolFromArg(&simulation_mode, arg);
}

static void cmdSetOrToggleDisplayStepResponse(const char *arg)
{
	_setOrToggleBoolFromArg((bool*) &display_step_response, arg);
}

static void cmdSetOrToggleDisplayMotorResponsiveness(const char *arg)
{
	_setOrToggleBoolFromArg((bool*) &display_motor_responsiveness, arg);
}

static void cmdSetOrToggleEchoCommands(const char *arg)
{
	_setOrToggleBoolFromArg((bool*) &echo_commands, arg);
}

#if VERBOSE
static void cmdSetOrToggleVerbose(const char *arg)
{
	_setOrToggleBoolFromArg(&verbose, arg);
}
#endif

static void cmdStepMotorA(const char *arg)
{
	bool forward = !arg || arg[0] == '\0' || arg[0] == 'f';

	initializeMotors();
	startMotors();
	if (forward)
		stepForwardMotorA(true);
	else
		stepBackwardMotorA(true);
}

static void cmdStepMotorB(const char *arg)
{
	bool forward = !arg || arg[0] == '\0' || arg[0] == 'f';

	initializeMotors();
	startMotors();
	if (forward)
		stepForwardMotorB(true);
	else
		stepBackwardMotorB(true);
}

static void cmdSpinMotors(const char *arg)
{
	float val;
	if (!_setFloatFromArg(&val, arg))
		return;

	initializeMotors();
	startMotors();
	running = true;
	target_rpm = val;
	osSignalSet(motorControllerTaskHandle, MOTOR_CONTROLLER_TASK_SIGNAL_OUTPUT_READY);
}

static void cmdSetGyroXOffset(const char *arg)
{
	float val;
	if (!_setFloatFromArg(&val, arg))
		return;
	gyro_offset_x = val;
	averboseln("new gyro_offset_x offset value set to %f", gyro_offset_x);
}

static void cmdGyroAutotuning(const char *arg)
{
	int val;
	if (!_setIntFromArg(&val, arg))
		return;
	gyroAutotuning(val);
}

static void cmdStart(const char *arg)
{
	averboseln("Command START");
	osSignalSet(startStopTaskHandle, START_STOP_TASK_SIGNAL_START);
}

static void cmdStop(const char *arg)
{
	averboseln("Command STOP");
	osSignalSet(startStopTaskHandle, START_STOP_TASK_SIGNAL_STOP);
}

/* USER CODE END 4 */

/* USER CODE BEGIN Header_InputProcessorTask */
/* Input Processor Task.
 * Wait for new data from sensors (gyro+accel) and process those using
 * a complementary filter and a pid to compute the desired output of the robot
 * ('target_rpm').
 */
/* USER CODE END Header_InputProcessorTask */
void InputProcessorTask(void const * argument)
{
  /* USER CODE BEGIN 5 */
	TASK_PROLOGUE(InputProcessorTask, /* verbose */ true);

	uint32_t samples = 0;
	uint8_t status;
	dim3_f xl, g;
	bool xl_ready, g_ready;

	while (true) {
		osEvent ev;
		do {
			Task_SignalWaitGet(
					ev,
					INPUT_PROCESSOR_TASK_SIGNAL_INPUT_READY | INPUT_PROCESSOR_TASK_SIGNAL_RESET,
					osWaitForever);
		} while(!(ev.value.signals & INPUT_PROCESSOR_TASK_SIGNAL_INPUT_READY ||
				ev.value.signals & INPUT_PROCESSOR_TASK_SIGNAL_RESET));

		if (ev.value.signals & INPUT_PROCESSOR_TASK_SIGNAL_RESET) {
			samples = 0;
			continue;
		}

		osMutexWait(sensorsMutexHandle, osWaitForever);

		// Read the status
		if (!LSM6DSL_ReadStatus(&status) == HAL_OK) {
			Task_averboseln("Failed to read LSM6DSL status");
			osMutexRelease(sensorsMutexHandle);
			continue;
		}

		// Read the sensors
		xl_ready = (status & LSM6DSL_REG_STATUS_BIT_XLDA) &&
				LSM6DSL_ReadAccelerometer_g(&xl) == HAL_OK;
		g_ready = (status & LSM6DSL_REG_STATUS_BIT_GDA) &&
				LSM6DSL_ReadGyroscope_dps(&g) == HAL_OK;

		osMutexRelease(sensorsMutexHandle);

		Task_averboseln("LSM6DSL status = 0x%02X", status);

		if (!(xl_ready && g_ready)) {
			Task_averboseln("Skipping uncompleted sensors data");
			continue;
		}

		// The first samples usually have some noise; discard them
		if (samples < LSM6DSL_INITIAL_SAMPLES_TO_DISCARD) {
			Task_averboseln("Discarding sample n. %u", samples);
			samples++;
			continue;
		}

		// Handle the sensors measurement
		Task_averboseln("Accelerometer: (x=%f, y=%f, z=%f)g", xl.x, xl.y, xl.z);
		Task_averboseln("Gyroscope:     (x=%f, y=%f, z=%f)dps", g.x, g.y, g.z);

		if (gyro_autotuning) {
			gyro_autotuning_mean.sum += g.x;
			gyro_autotuning_mean.count++;
			Task_SignalSet(uiTaskHandle, UI_TASK_SIGNAL_AUTOTUNING);
			continue;
		}

		float gx_raw = g.x;

		// Apply adjustments to sensors measurements
		xl.x -= ACCEL_OFFSET_X; xl.y -= ACCEL_OFFSET_Y; xl.z -= ACCEL_OFFSET_Z;
		g.x -= gyro_offset_x;

		// Estimate the angle using measures from both sensors with a filter
		ComplementaryFilter_Compute(&filter, xl, g);
		float input = filter.roll;

		Task_averboseln("Roll = %.2f deg", input);

		// Do not even try to balance if the robot is too much sloped
		if (ABS(input) > GIVEUP_DEG) {
			target_rpm = 0;
		} else {
			// Compute the motor's output using a PID
			PID_Compute(&pid, input);

			target_rpm = pid.output;

			Task_averboseln("RPM = %.2f", target_rpm);

			if (display_step_response) {
				taprintln("%f deg (xl_x_raw=%f, gyro_x_raw=%f, gyro_x=%f) | %f rpm | %f Hz",
							input, xl.x, gx_raw, g.x, target_rpm, target_rpm * RPM_TO_FREQ);
			}
		}
		// Wake up the motor task since the target rpm is changed
		Task_SignalSet(motorControllerTaskHandle, MOTOR_CONTROLLER_TASK_SIGNAL_OUTPUT_READY);
	}
  /* USER CODE END 5 */
}

/* USER CODE BEGIN Header_MotorControllerTask */
/* Motor Controller Task.
 * Is responsible for submit step signals to the motors drivers at regular
 * interval, depending on the current 'target_rpm'.
 * Furthermore is able to detect changes to 'target_rpm' before the step period
 * elapses thanks to the MOTOR_CONTROLLER_TASK_SIGNAL_OUTPUT_READY signal.
 *
 */
/* USER CODE END Header_MotorControllerTask */
void MotorControllerTask(void const * argument)
{
  /* USER CODE BEGIN MotorControllerTask */
	TASK_PROLOGUE(MotorControllerTask, /* verbose */ true);

	float target_rpm_snapshot;
	uint32_t target_step_period_us;
	uint32_t last_step_us;

#define MICROSECONDS_TO_STEP() ((int64_t) last_step_us + target_step_period_us - GetMicroseconds())

	while (true) {
		bool idling = !running;
		uint32_t wait_ms  = idling ?
			osWaitForever : /* wait forever if in idle mode (at the beginning or after a reset) */
			MAX(0, ((int64_t) last_step_us + target_step_period_us - GetMicroseconds())) / 1000
		;

		Task_averboseln("Waiting for %u ms...", wait_ms);
		osEvent ev;
		Task_SignalWaitGet(
				ev,
				(MOTOR_CONTROLLER_TASK_SIGNAL_OUTPUT_READY | MOTOR_CONTROLLER_TASK_SIGNAL_RESET),
				wait_ms
		);

		if (ev.status == osEventSignal &&
			ev.value.signals & MOTOR_CONTROLLER_TASK_SIGNAL_RESET) {
			// Received RESET signal, go into idle mode
			Task_averboseln("WakeUp reason: reset; going into idle mode");
			continue;
		}

		bool perform = false;
		if (ev.status == osEventTimeout || ev.status == osOK) {
			// Step period elapsed, always perform the step in this case
			Task_averboseln(
					"WakeUp reason: period timeout (last wait = %u ms | total period = %u ms)",
					wait_ms, target_step_period_us);
			perform = true;
		} else if (	ev.status == osEventSignal &&
					ev.value.signals & MOTOR_CONTROLLER_TASK_SIGNAL_OUTPUT_READY) {
			// Target RPM changed, we have to perform a step only if we are
			// late relative to the new step period
			Task_averboseln(
					"WakeUp reason: target_rpm changed to %f -> new period = %u ms",
					target_rpm_snapshot, target_step_period_us / 1000);
			target_rpm_snapshot = target_rpm;
			target_step_period_us = lroundf(1000000.0f / ((ABS(target_rpm_snapshot) * RPM_TO_FREQ)));
			perform = MICROSECONDS_TO_STEP() <= 0;
		}

		if (idling) {
			// Don't perform since in idle mode,
			// just keep track of the time the new data has been handled
			Task_averboseln("Not performing since in idle mode");
			last_step_us = GetMicroseconds();
			continue;
		}

		if (perform) {
			int64_t remaining_us_before, remaining_us, remaining_us_after;
			remaining_us_before = remaining_us = MICROSECONDS_TO_STEP();
			while (remaining_us > 50) {
				Task_averboseln("Micro sleep wait of %u us before step", remaining_us);
				if (remaining_us > 1000)
					osDelay(remaining_us / 1000);
				else
					SleepMicroseconds(remaining_us);

				remaining_us = MICROSECONDS_TO_STEP();
			}

			if (target_rpm_snapshot > 0) {
				stepForwardMotorA(false);
				stepForwardMotorB(false);
			} else {
				stepBackwardMotorA(false);
				stepBackwardMotorB(false);
			}

			SleepMicroseconds(A4988_MINIMUM_STEP_PULSE_MICROSECONDS);
			stepFallingEdgeMotorA();
			stepFallingEdgeMotorB();

			remaining_us_after = MICROSECONDS_TO_STEP();
			last_step_us = GetMicroseconds();

			if (display_motor_responsiveness) {
				if (ev.status == osEventTimeout || ev.status == osOK) {
					taprintln("STEP | reason = period timeout (%u us) | "
							"remaining us = (%lld...%lld...%lld) | %s",
							target_step_period_us,
							remaining_us_before, remaining_us, remaining_us_after,
							remaining_us_before < 0 ? "[late]" : "[ok: in-time]"
					);
				} else {
					taprintln("STEP | reason = rpm changed to %f (new period is %u us) | "
							 " remaining us = (%lld...%lld...%lld) | [ok: justified]",
							 target_rpm_snapshot,
							 target_step_period_us,
							 remaining_us_before, remaining_us, remaining_us_after);
				}
			}
		} else {
			if (display_motor_responsiveness)
				taprintln("NOP: reason = rpm changed (new period %u us) | remaining us = %lld",
						target_step_period_us, MICROSECONDS_TO_STEP());
		}
	}

#undef MICROSECONDS_TO_STEP
  /* USER CODE END MotorControllerTask */
}

/* USER CODE BEGIN Header_UITask */
/*
 * UI Task.
 * Blinks internal LED1 and LED2 depending on what's happening.
 * Actually the leds might blink for two reason:
 * - the robot is going forward or backward
 * - autotuning is going on
 */
/* USER CODE END Header_UITask */
void UITask(void const * argument)
{
  /* USER CODE BEGIN UITask */
	TASK_PROLOGUE(MotorControllerTask, /* verbose */ true);

	GPIO_Pin led_forward = led1;
	GPIO_Pin led_backward = led2;

	GPIO_Pin_Low(led_forward);
	GPIO_Pin_Low(led_backward);

	uint8_t steps_forward = 0;
	uint8_t micro_forward = 0;

	uint8_t steps_backward = 0;
	uint8_t micro_backward = 0;

	uint8_t autotuning_reads = 0;

	while (true) {
		osEvent ev;
		Task_SignalWaitGet(
			ev,
			(UI_TASK_SIGNAL_STEP_FORWARD_MOTOR_A | UI_TASK_SIGNAL_STEP_BACKWARD_MOTOR_A |
			UI_TASK_SIGNAL_STEP_FORWARD_MOTOR_B | UI_TASK_SIGNAL_STEP_BACKWARD_MOTOR_B |
			UI_TASK_SIGNAL_AUTOTUNING),
			osWaitForever
		);
		if (ev.value.signals & UI_TASK_SIGNAL_STEP_FORWARD_MOTOR_A ||
				ev.value.signals & UI_TASK_SIGNAL_STEP_FORWARD_MOTOR_B) {
			micro_backward = 0;
			steps_backward = 0;
			micro_forward = (micro_forward + 1) % MOTOR_MICROSTEPS_PER_STEP;
			steps_forward =
					(steps_forward + (micro_forward == 0))
					% UI_BLINK_AFTER_MOTOR_STEPS;
			GPIO_Pin_Low(led_backward);
			GPIO_Pin_Write(led_forward,
				steps_forward == UI_BLINK_AFTER_MOTOR_STEPS - 1 &&
				micro_forward == MOTOR_MICROSTEPS_PER_STEP - 1);
		}
		if (ev.value.signals & UI_TASK_SIGNAL_STEP_BACKWARD_MOTOR_A ||
				ev.value.signals & UI_TASK_SIGNAL_STEP_BACKWARD_MOTOR_B) {
			micro_forward = 0;
			steps_forward = 0;
			micro_backward = (micro_backward + 1) % MOTOR_MICROSTEPS_PER_STEP;
			steps_backward =
					(steps_backward + (micro_backward == 0))
					% UI_BLINK_AFTER_MOTOR_STEPS;
			GPIO_Pin_Low(led_forward);
			GPIO_Pin_Write(led_backward,
				steps_backward == UI_BLINK_AFTER_MOTOR_STEPS - 1 &&
				micro_backward == MOTOR_MICROSTEPS_PER_STEP - 1);
		}
		if (ev.value.signals & UI_TASK_SIGNAL_AUTOTUNING) {
			autotuning_reads = (autotuning_reads + 1) % UI_BLINK_AFTER_AUTOTUNING_SENSOR_READ;
			if (autotuning_reads == 0) {
				GPIO_Pin_Toggle(led1);
				GPIO_Pin_Toggle(led2);
			}
		}
	}

  /* USER CODE END UITask */
}

/* USER CODE BEGIN Header_SerialTxFlushTask */
/*
 * Serial Transmission Flusher Task.
 * Is responsible for flush the async message written to the serial
 * with the aprintXXX functions.
 */
/* USER CODE END Header_SerialTxFlushTask */
void SerialTxFlushTask(void const * argument)
{
  /* USER CODE BEGIN SerialTxFlushTask */
	TASK_PROLOGUE(SerialTxFlushTask, /* verbose */ true);

	while (true) {
		// Blocks until a new data is available, then prints it
		Serial_Flush_Tx();
	}
  /* USER CODE END SerialTxFlushTask */
}

/* USER CODE BEGIN Header_SerialRxTask */
/*
 * Serial Receiver Task.
 * Reads from the serial and process the command
 * when the message is submitted ('\r').
 */
/* USER CODE END Header_SerialRxTask */
void SerialRxTask(void const * argument)
{
  /* USER CODE BEGIN SerialRxTask */
	TASK_PROLOGUE(SerialRxTask, /* verbose */ true);

	char input[COMMAND_MAX_LEN];
	while (true) {
		Serial_ReadStringCR_Async(input, COMMAND_MAX_LEN);
		if (!Serial_Wait_Rx()) {
			aprintln(SERIAL_ENDL "Failed to read command");
			continue;
		}

		if (echo_commands)
			aprintln(">> %s", input);

		char cmd = input[0];
		bool command_found = false;
		for (int i = 0; i < ARRAY_SIZE(COMMANDS) && !command_found; i++) {
			if (COMMANDS[i].prefix == cmd) {
				command_found = true;
				COMMANDS[i].fn(&input[1]);
			}
		}

		if (!command_found) {
			aprintln("Unrecognized command: '%s'", input);
		}
	}

  /* USER CODE END SerialRxTask */
}

/* USER CODE BEGIN Header_StartStopTask */
/*
 * Start/Stop Task.
 * Wait for either START or STOP events and perform the actual
 * start/stop job, eventually notifying the tasks about the new state.
 */
/* USER CODE END Header_StartStopTask */
void StartStopTask(void const * argument)
{
  /* USER CODE BEGIN StartStopTask */
	TASK_PROLOGUE(StartStopTask, /* verbose */ true);

	while (true) {
		osEvent ev;
		do {
			Task_SignalWaitGet(
					ev,
					START_STOP_TASK_SIGNAL_START |
					START_STOP_TASK_SIGNAL_STOP |
					START_STOP_TASK_SIGNAL_TOGGLE,
					osWaitForever);
		} while(!(ev.value.signals & START_STOP_TASK_SIGNAL_START ||
				  ev.value.signals & START_STOP_TASK_SIGNAL_STOP ||
				  ev.value.signals & START_STOP_TASK_SIGNAL_TOGGLE));

		if (ev.value.signals & START_STOP_TASK_SIGNAL_START ||
			((ev.value.signals & START_STOP_TASK_SIGNAL_TOGGLE) && !running)) {
			running = true;
			initializeRobot();
			startRobot();
		} else if (ev.value.signals & START_STOP_TASK_SIGNAL_STOP ||
				((ev.value.signals & START_STOP_TASK_SIGNAL_TOGGLE) && running)) {
			running = false;
			initializeRobot();
			stopRobot();
			Task_SignalSet(inputProcessorTaskHandle, INPUT_PROCESSOR_TASK_SIGNAL_RESET);
			Task_SignalSet(motorControllerTaskHandle, MOTOR_CONTROLLER_TASK_SIGNAL_RESET);
		}
	}
  /* USER CODE END StartStopTask */
}

void AutotuningTask(void const * argument)
{
  /* USER CODE BEGIN AutotuningTask */
	TASK_PROLOGUE(AutotuningTask, /* verbose */ true);

	while(true) {
		osEvent ev;
		do {
			Task_SignalWaitGet(
					ev,
					AUTOTUNING_TASK_SIGNAL,
					osWaitForever);
		} while(!(ev.value.signals & AUTOTUNING_TASK_SIGNAL));

		if (ev.status == osEventSignal &&
			ev.value.signals & AUTOTUNING_TASK_SIGNAL) {
			gyroAutotuning(30);
		}
	}
  /* USER CODE END AutotuningTask */
}

 /**
  * @brief  Period elapsed callback in non blocking mode
  * @note   This function is called  when TIM6 interrupt took place, inside
  * HAL_TIM_IRQHandler(). It makes a direct call to HAL_IncTick() to increment
  * a global variable "uwTick" used as application time base.
  * @param  htim : TIM handle
  * @retval None
  */
void HAL_TIM_PeriodElapsedCallback(TIM_HandleTypeDef *htim)
{
  if (htim->Instance == TIM6) {
    HAL_IncTick();
  }
}

void Error_Handler(void)
{
  /* USER CODE BEGIN Error_Handler_Debug */
	// Blinks LED1/LED2 forever.
	GPIO_Pin_High(led1);
	GPIO_Pin_High(led2);
	while (true) {
		GPIO_Pin_Toggle(led1);
		GPIO_Pin_Toggle(led2);
		SleepMicroseconds(5000); // blocking, retain execution control
	}

  /* USER CODE END Error_Handler_Debug */
}

/************************ (C) COPYRIGHT STMicroelectronics *****END OF FILE****/
